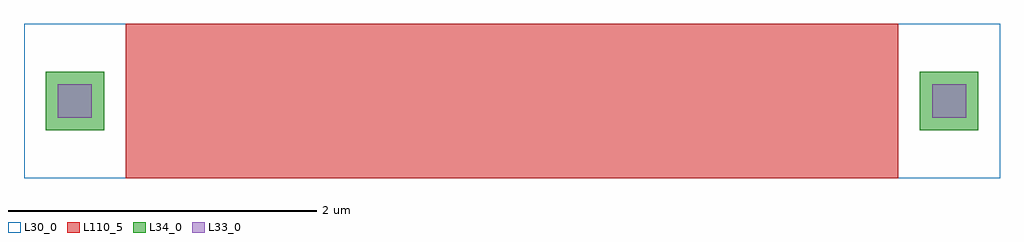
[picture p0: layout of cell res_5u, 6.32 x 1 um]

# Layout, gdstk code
import gdstk
lib = gdstk.Library(unit=1e-6, precision=5e-09)
def R(c, l, rs):  # rectangles x0, y0, x1, y1
    for r in rs: c.add(gdstk.rectangle(r[:2], r[2:], *l))
L30_0 = (30, 0)
L33_0 = (33, 0)
L34_0 = (34, 0)
L110_5 = (110, 5)

res_5u = lib.new_cell('res_5u')
R(res_5u, L30_0, [(0,0,6.32,1)])
R(res_5u, L33_0, [(0.22,0.39,0.44,0.61), (5.88,0.39,6.1,0.61)])
R(res_5u, L34_0, [(0.14,0.31,0.52,0.69), (5.8,0.31,6.18,0.69)])
R(res_5u, L110_5, [(0.66,0,5.66,1)])

lib.write_gds('res_5u.gds')
